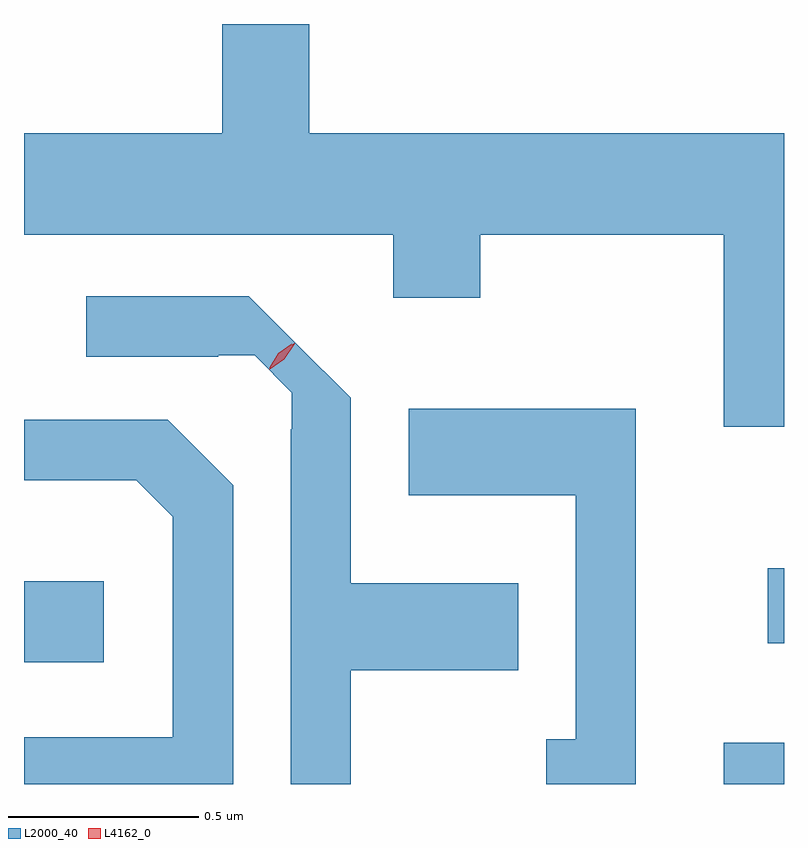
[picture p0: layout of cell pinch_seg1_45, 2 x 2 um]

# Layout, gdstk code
import gdstk
lib = gdstk.Library(unit=1e-6, precision=1e-09)
def R(c, l, rs):  # rectangles x0, y0, x1, y1
    for r in rs: c.add(gdstk.rectangle(r[:2], r[2:], *l))
def P(c, l, *ps):  # polygons
    for p in ps: c.add(gdstk.Polygon(p, *l))
L2000_40 = (2000, 40)
L4162_0 = (4162, 0)

pinch_seg1_45 = lib.new_cell('pinch_seg1_45')
R(pinch_seg1_45, L2000_40, [(1100.561,902.571,1100.719,902.679), (1098.719,902.891,1098.929,903.104), (1100.676,902.941,1100.719,903.139)])
P(pinch_seg1_45, L2000_40, [(1100.719,904.284),(1099.469,904.284),(1099.469,904.571),(1099.241,904.571),(1099.241,904.284),(1098.719,904.284),(1098.719,904.016),(1099.691,904.016),(1099.691,903.851),(1099.919,903.851),(1099.919,904.016),(1100.561,904.016),(1100.561,903.511),(1100.719,903.511)],
  [(1099.579,902.871),(1100.019,902.871),(1100.019,903.099),(1099.579,903.099),(1099.579,903.587),(1099.508,903.658),(1099.507,903.658),(1099.311,903.854),(1098.883,903.854),(1098.883,903.696),(1099.23,903.696),(1099.23,903.699),(1099.326,903.699),(1099.424,903.601),(1099.424,903.505),(1099.421,903.505),(1099.421,902.571),(1099.579,902.571)],
  [(1100.329,903.559),(1099.731,903.559),(1099.731,903.331),(1100.171,903.331),(1100.171,902.689),(1100.093,902.689),(1100.093,902.571),(1100.329,902.571)],
  [(1099.269,903.357),(1099.097,903.529),(1098.719,903.529),(1098.719,903.371),(1099.014,903.371),(1099.111,903.274),(1099.111,902.694),(1098.719,902.694),(1098.719,902.571),(1099.269,902.571)])
P(pinch_seg1_45, L4162_0, [(1099.364,903.661),(1099.364,903.662),(1099.39,903.703),(1099.43,903.731),(1099.431,903.731),(1099.431,903.73),(1099.404,903.689),(1099.364,903.661)],
  [(1099.366,903.667),(1099.366,903.668),(1099.388,903.705),(1099.424,903.729),(1099.424,903.729),(1099.424,903.728),(1099.402,903.691),(1099.366,903.667)])

lib.write_gds('pinch_seg1_45.gds')
